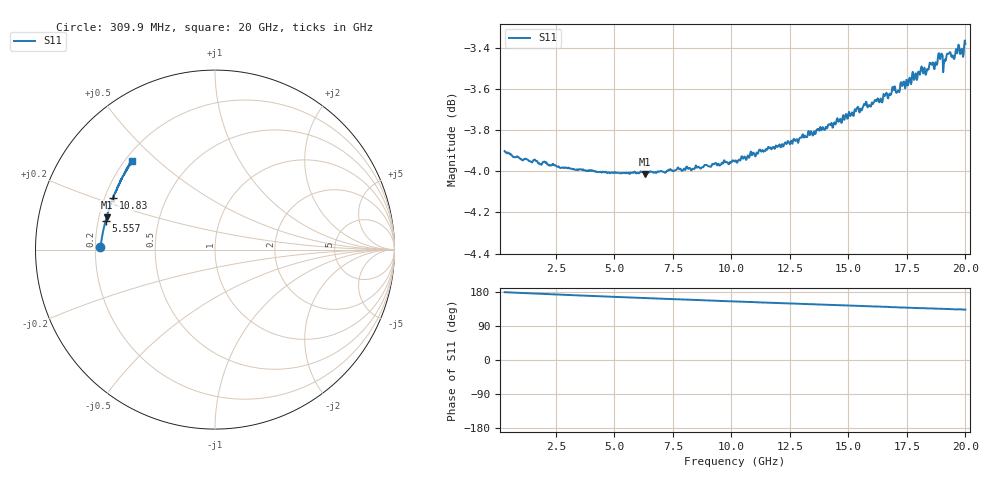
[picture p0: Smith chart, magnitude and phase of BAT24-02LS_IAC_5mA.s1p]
! Infineon Technologies  Discrete & RF Semiconductors
! BAT24-02LS
! IAC = 5 mA
! One-Port S-Parameters
# Hz  S  MA  R  50
!f  S11
!Hz  Mag  Ang
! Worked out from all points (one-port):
!   789 points, 309.9 MHz to 20 GHz, reference 50 ohm
!   lowest |S11| = -4.0 dB at 6.307 GHz (marker M1), VSWR 4.41, Z = 11.6 + j6.88 ohm
!   |S11| at or under -10 dB: nowhere
!   S11 on the Smith chart (normalised r, x): 309.9 MHz: 0.22, +0.01; 5.557 GHz: 0.23, +0.12; 10.83 GHz: 0.23, +0.23; 20 GHz: 0.23, +0.41
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3.0985e8  0.6382 178.9
2.783612e9  0.6324 172.3
5.232388e9  0.6303 166.0
5.557225e9  0.6302 165.3
6.30685e9  0.63 163.5
7.70615e9  0.6323 160.2
1.015492e10  0.6344 154.5
1.082959e10  0.638 153.0
1.262869e10  0.6416 148.9
1.507746e10  0.6508 143.8
1.66017e10  0.6589 140.3
1.677661e10  0.6585 139.8
1.695152e10  0.6603 139.5
1.715142e10  0.6599 138.9
1.755122e10  0.6621 138.0
1.82009e10  0.6665 136.7
1.837581e10  0.6682 136.3
1.855072e10  0.6698 136.0
1.875062e10  0.6704 135.6
1.895052e10  0.6732 135.3
1.912544e10  0.6717 134.8
1.932534e10  0.6745 134.5
1.950025e10  0.672 134.0
1.962519e10  0.6754 133.8
1.967516e10  0.6753 133.6
1.982509e10  0.6754 133.4
1.987506e10  0.6741 133.5
2e10  0.6777 133.2
